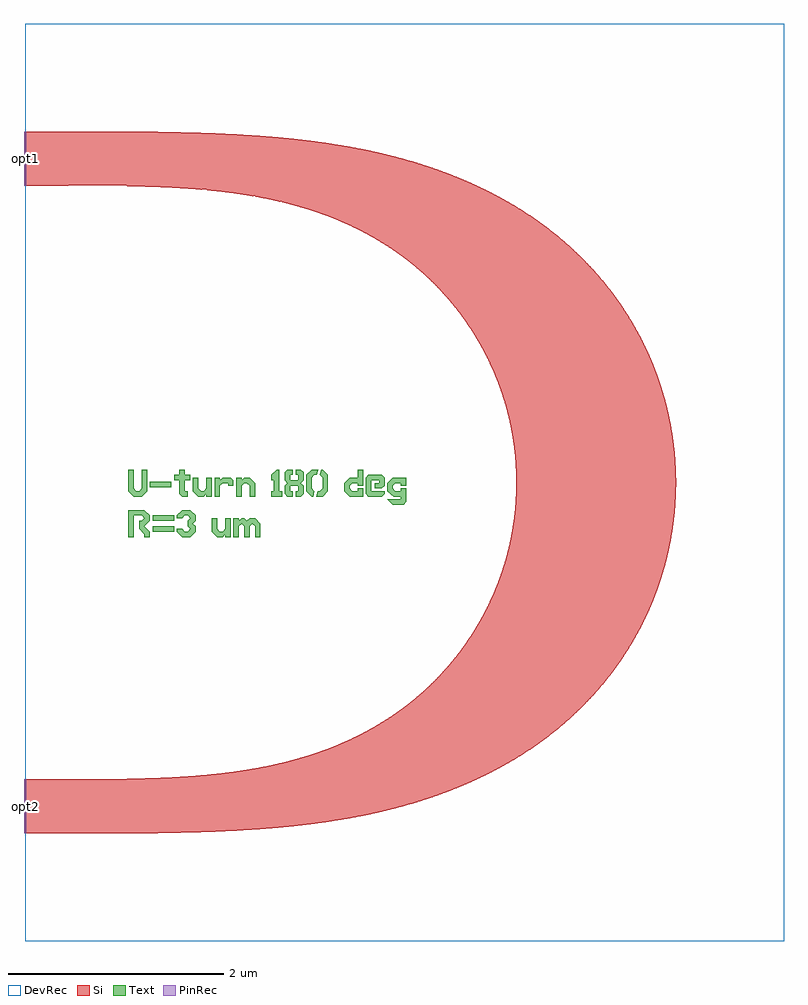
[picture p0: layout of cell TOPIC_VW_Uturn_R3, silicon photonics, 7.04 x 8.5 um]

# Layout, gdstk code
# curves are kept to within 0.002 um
import gdstk
lib = gdstk.Library(unit=1e-6, precision=1e-09)
def R(c, l, rs):  # rectangles x0, y0, x1, y1
    for r in rs: c.add(gdstk.rectangle(r[:2], r[2:], *l))
def P(c, l, *ps):  # polygons
    for p in ps: c.add(gdstk.Polygon(p, *l))
Si = (1, 0)
PinRec = (1, 10)
Text = (10, 0)
DevRec = (68, 0)

text_gdsfactorypcomponen = lib.new_cell('text_gdsfactorypcomponentsptextsptext_TUmturn_180_deg*R_e07b9f0b')
R(text_gdsfactorypcomponen, Text, [(0.25,-0.325,0.45,-0.275), (0.25,-0.225,0.45,-0.175), (0.225,0.088,0.425,0.138)])
P(text_gdsfactorypcomponen, Text, [(1.767,0),(1.78,0.05),(1.8,0.05),(1.825,0.075),(1.825,0.175),(1.8,0.2),(1.813,0.25),(1.825,0.25),(1.875,0.2),(1.875,0.05),(1.825,0)],
  [(1.725,0),(1.675,0.05),(1.675,0.2),(1.725,0.25),(1.783,0.25),(1.77,0.2),(1.75,0.2),(1.725,0.175),(1.725,0.075),(1.75,0.05),(1.737,0)],
  [(1.025,0),(1.025,0.175),(1.075,0.175),(1.075,0.15),(1.1,0.175),(1.15,0.175),(1.2,0.125),(1.2,0),(1.15,0),(1.15,0.1),(1.125,0.125),(1.1,0.125),(1.075,0.1),(1.075,0)],
  [(2.475,-0.075),(2.425,-0.025),(2.55,-0.025),(2.55,0),(2.484,0),(2.425,0.05),(2.425,0.125),(2.475,0.175),(2.6,0.175),(2.6,0.1),(2.55,0.1),(2.55,0.125),(2.5,0.125),(2.475,0.1),(2.475,0.075),(2.5,0.05),(2.55,0.05),(2.55,0.075),(2.6,0.075),(2.6,-0.05),(2.575,-0.075)],
  [(0.85,-0.375),(0.8,-0.325),(0.8,-0.2),(0.85,-0.2),(0.85,-0.3),(0.875,-0.325),(0.9,-0.325),(0.925,-0.3),(0.925,-0.2),(0.975,-0.2),(0.975,-0.375),(0.925,-0.375),(0.925,-0.35),(0.9,-0.375)],
  [(0.675,0),(0.625,0.05),(0.625,0.175),(0.675,0.175),(0.675,0.075),(0.7,0.05),(0.725,0.05),(0.75,0.075),(0.75,0.175),(0.8,0.175),(0.8,0),(0.75,0),(0.75,0.025),(0.725,0)],
  [(1,-0.375),(1,-0.2),(1.05,-0.2),(1.05,-0.225),(1.075,-0.2),(1.1,-0.2),(1.125,-0.225),(1.15,-0.2),(1.2,-0.2),(1.25,-0.25),(1.25,-0.375),(1.2,-0.375),(1.2,-0.275),(1.175,-0.25),(1.15,-0.275),(1.15,-0.375),(1.1,-0.375),(1.1,-0.275),(1.075,-0.25),(1.05,-0.275),(1.05,-0.375)],
  [(1.35,0),(1.35,0.05),(1.375,0.05),(1.375,0.15),(1.35,0.15),(1.35,0.2),(1.4,0.25),(1.425,0.25),(1.425,0.05),(1.45,0.05),(1.45,0)],
  [(0.825,0),(0.825,0.175),(0.875,0.175),(0.875,0.15),(0.9,0.175),(0.975,0.175),(1,0.15),(1,0.1),(0.95,0.1),(0.95,0.125),(0.9,0.125),(0.875,0.1),(0.875,0)],
  [(2.25,0),(2.225,0.025),(2.225,0.175),(2.25,0.2),(2.375,0.2),(2.4,0.175),(2.4,0.1),(2.375,0.075),(2.31,0.075),(2.31,0.125),(2.35,0.125),(2.35,0.15),(2.275,0.15),(2.275,0.05),(2.4,0.05),(2.4,0.025),(2.375,0)],
  [(1.5,0),(1.475,0.025),(1.475,0.1),(1.5,0.125),(1.475,0.15),(1.475,0.225),(1.5,0.25),(1.55,0.25),(1.55,0.2),(1.525,0.2),(1.525,0.15),(1.6,0.15),(1.6,0.2),(1.575,0.2),(1.575,0.25),(1.625,0.25),(1.65,0.225),(1.65,0.15),(1.625,0.125),(1.65,0.1),(1.65,0.025),(1.625,0),(1.575,0),(1.575,0.05),(1.6,0.05),(1.6,0.1),(1.525,0.1),(1.525,0.05),(1.55,0.05),(1.55,0)],
  [(0.025,-0.375),(0.025,-0.125),(0.175,-0.125),(0.225,-0.175),(0.225,-0.225),(0.175,-0.275),(0.225,-0.325),(0.225,-0.375),(0.175,-0.375),(0.175,-0.35),(0.125,-0.3),(0.125,-0.225),(0.15,-0.225),(0.175,-0.2),(0.15,-0.175),(0.075,-0.175),(0.075,-0.375)],
  [(0.525,-0.375),(0.475,-0.325),(0.475,-0.3),(0.525,-0.3),(0.55,-0.325),(0.575,-0.325),(0.6,-0.3),(0.575,-0.275),(0.575,-0.225),(0.6,-0.2),(0.575,-0.175),(0.55,-0.175),(0.525,-0.2),(0.475,-0.2),(0.475,-0.175),(0.525,-0.125),(0.6,-0.125),(0.65,-0.175),(0.65,-0.225),(0.625,-0.25),(0.65,-0.275),(0.65,-0.325),(0.6,-0.375)],
  [(0.075,0),(0.025,0.05),(0.025,0.25),(0.075,0.25),(0.075,0.075),(0.1,0.05),(0.125,0.05),(0.15,0.075),(0.15,0.25),(0.2,0.25),(0.2,0.05),(0.15,0)],
  [(2.075,0),(2.025,0.05),(2.025,0.125),(2.075,0.175),(2.15,0.175),(2.15,0.25),(2.2,0.25),(2.2,0.1),(2.15,0.1),(2.15,0.125),(2.1,0.125),(2.075,0.1),(2.075,0.075),(2.1,0.05),(2.15,0.05),(2.15,0.075),(2.2,0.075),(2.2,0)],
  [(0.525,0),(0.5,0.025),(0.5,0.15),(0.45,0.15),(0.45,0.2),(0.5,0.2),(0.5,0.25),(0.55,0.25),(0.55,0.2),(0.6,0.2),(0.6,0.15),(0.55,0.15),(0.55,0.05),(0.575,0.05),(0.575,0)])

topic_vw_uturn_r3 = lib.new_cell('TOPIC_VW_Uturn_R3')
P(topic_vw_uturn_r3, Si, [(0,-0.25),(0,0.25),(0.81,0.252),(1.075,0.257),(1.301,0.265),(1.565,0.281),(1.8,0.303),(1.985,0.327),(2.154,0.355),(2.351,0.396),(2.508,0.436),(2.705,0.497),(2.866,0.557),(3.037,0.632),(3.172,0.701),(3.321,0.788),(3.443,0.869),(3.55,0.948),(3.678,1.055),(3.801,1.172),(3.899,1.277),(4.004,1.404),(4.082,1.511),(4.167,1.64),(4.251,1.788),(4.312,1.912),(4.382,2.079),(4.44,2.25),(4.471,2.363),(4.511,2.55),(4.53,2.676),(4.544,2.819),(4.55,2.963),(4.547,3.128),(4.535,3.281),(4.511,3.45),(4.48,3.601),(4.44,3.75),(4.382,3.921),(4.334,4.039),(4.261,4.193),(4.213,4.282),(4.133,4.414),(4.033,4.558),(3.92,4.699),(3.801,4.828),(3.7,4.925),(3.596,5.015),(3.471,5.111),(3.35,5.194),(3.207,5.28),(3.037,5.368),(2.866,5.443),(2.705,5.503),(2.508,5.564),(2.351,5.604),(2.154,5.645),(1.985,5.673),(1.8,5.697),(1.565,5.719),(1.301,5.735),(1.075,5.743),(0.81,5.748),(0,5.75),(0,6.25),(0.698,6.25),(1.292,6.245),(1.689,6.235),(2.061,6.217),(2.393,6.191),(2.708,6.155),(2.974,6.114),(3.247,6.06),(3.378,6.029),(3.539,5.986),(3.638,5.957),(3.811,5.9),(3.989,5.833),(4.099,5.787),(4.328,5.678),(4.432,5.622),(4.556,5.55),(4.754,5.419),(4.844,5.353),(4.931,5.284),(5.027,5.202),(5.109,5.127),(5.188,5.049),(5.291,4.938),(5.373,4.842),(5.479,4.703),(5.568,4.572),(5.634,4.464),(5.705,4.334),(5.778,4.182),(5.828,4.062),(5.875,3.933),(5.928,3.758),(5.955,3.649),(5.98,3.528),(6.004,3.375),(6.019,3.232),(6.027,3.084),(6.027,2.916),(6.019,2.768),(6.004,2.625),(5.985,2.5),(5.962,2.382),(5.928,2.242),(5.875,2.067),(5.828,1.938),(5.778,1.818),(5.705,1.666),(5.634,1.536),(5.568,1.428),(5.479,1.297),(5.417,1.214),(5.317,1.092),(5.232,0.997),(5.132,0.895),(5.063,0.83),(4.967,0.746),(4.844,0.647),(4.754,0.581),(4.616,0.488),(4.556,0.45),(4.398,0.359),(4.164,0.242),(4.026,0.182),(3.856,0.116),(3.615,0.036),(3.493,0.001),(3.316,-0.044),(3.154,-0.08),(3.013,-0.107),(2.708,-0.155),(2.393,-0.191),(2.061,-0.217),(1.689,-0.235),(1.292,-0.245),(0.698,-0.25)])
R(topic_vw_uturn_r3, DevRec, [(0,-1.25,7.028,7.25)])
topic_vw_uturn_r3.add(gdstk.FlexPath([(0.01,0),(-0.01,0)], 0.5, ends="flush", simple_path=True, layer=1, datatype=10))  # PinRec
topic_vw_uturn_r3.add(gdstk.FlexPath([(0.01,6),(-0.01,6)], 0.5, ends="flush", simple_path=True, layer=1, datatype=10))  # PinRec
topic_vw_uturn_r3.add(gdstk.Reference(text_gdsfactorypcomponen, (0.93,2.87)))
topic_vw_uturn_r3.add(gdstk.Label('opt1', (0,6), layer=1, texttype=10))
topic_vw_uturn_r3.add(gdstk.Label('opt2', (0,0), layer=1, texttype=10))

lib.write_gds('TOPIC_VW_Uturn_R3.gds')
